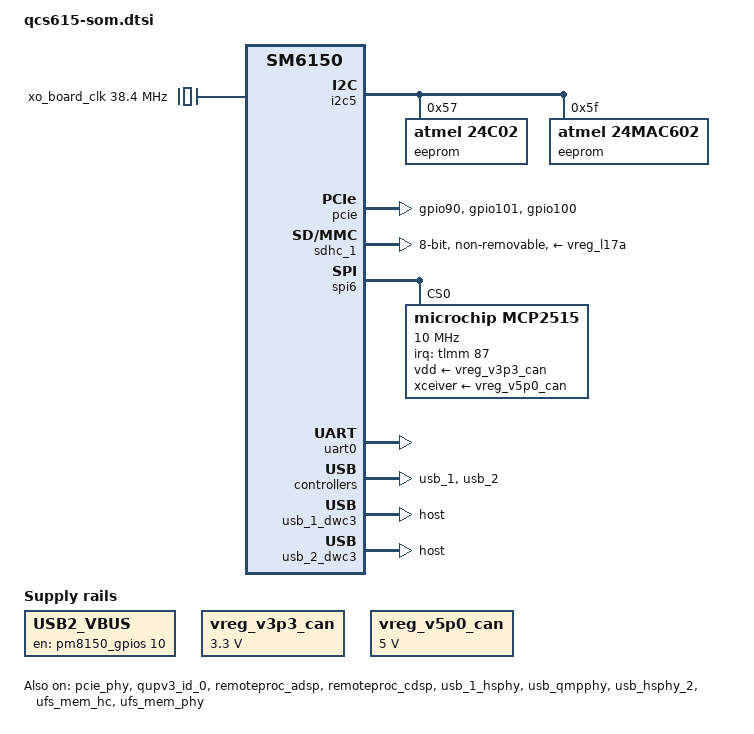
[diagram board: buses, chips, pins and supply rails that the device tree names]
// SPDX-License-Identifier: BSD-3-Clause
/*
 * Copyright (c) 2025, Qualcomm Innovation Center, Inc. All rights reserved.
 */
/dts-v1/;

#include <dt-bindings/gpio/gpio.h>
#include <dt-bindings/regulator/qcom,rpmh-regulator.h>
#include <dt-bindings/gpio/gpio.h>
#include "sm6150.dtsi"
#include "pm8150.dtsi"
/ {
	aliases {
		mmc0 = &sdhc_1;
		serial0 = &uart0;
	};

	chosen {
		stdout-path = "serial0:115200n8";
	};

	clocks {
		sleep_clk: sleep-clk {
			compatible = "fixed-clock";
			clock-frequency = <32764>;
			#clock-cells = <0>;
		};

		xo_board_clk: xo-board-clk {
			compatible = "fixed-clock";
			clock-frequency = <38400000>;
			#clock-cells = <0>;
		};
	};

	regulator-usb2-vbus {
		compatible = "regulator-fixed";
		regulator-name = "USB2_VBUS";
		gpio = <&pm8150_gpios 10 GPIO_ACTIVE_HIGH>;
		pinctrl-0 = <&usb2_en>;
		pinctrl-names = "default";
		enable-active-high;
		regulator-always-on;
	};

	vreg_v3p3_can: regulator-v3p3-can {
		compatible = "regulator-fixed";
		regulator-name = "vreg-v3p3-can";
		regulator-min-microvolt = <3300000>;
		regulator-max-microvolt = <3300000>;
		regulator-boot-on;
		regulator-always-on;
	};

	vreg_v5p0_can: regulator-v5p0-can {
		compatible = "regulator-fixed";
		regulator-name = "vreg-v5p0-can";
		regulator-min-microvolt = <5000000>;
		regulator-max-microvolt = <5000000>;
		regulator-boot-on;
		regulator-always-on;
	};
};

&apps_rsc {
	regulators-0 {
		compatible = "qcom,pm8150-rpmh-regulators";
		qcom,pmic-id = "a";

		vreg_s3a: smps3 {
			regulator-name = "vreg_s3a";
			regulator-min-microvolt = <600000>;
			regulator-max-microvolt = <650000>;
			regulator-initial-mode = <RPMH_REGULATOR_MODE_HPM>;
		};

		vreg_s4a: smps4 {
			regulator-name = "vreg_s4a";
			regulator-min-microvolt = <1800000>;
			regulator-max-microvolt = <1829000>;
			regulator-initial-mode = <RPMH_REGULATOR_MODE_HPM>;
		};

		vreg_s5a: smps5 {
			regulator-name = "vreg_s5a";
			regulator-min-microvolt = <1896000>;
			regulator-max-microvolt = <2040000>;
			regulator-initial-mode = <RPMH_REGULATOR_MODE_HPM>;
		};

		vreg_s6a: smps6 {
			regulator-name = "vreg_s6a";
			regulator-min-microvolt = <1304000>;
			regulator-max-microvolt = <1404000>;
			regulator-initial-mode = <RPMH_REGULATOR_MODE_HPM>;
		};

		vreg_l1a: ldo1 {
			regulator-name = "vreg_l1a";
			regulator-min-microvolt = <488000>;
			regulator-max-microvolt = <852000>;
			regulator-initial-mode = <RPMH_REGULATOR_MODE_LPM>;
			regulator-allow-set-load;
			regulator-allowed-modes = <RPMH_REGULATOR_MODE_LPM
						   RPMH_REGULATOR_MODE_HPM>;
		};

		vreg_l2a: ldo2 {
			regulator-name = "vreg_l2a";
			regulator-min-microvolt = <1650000>;
			regulator-max-microvolt = <3100000>;
			regulator-initial-mode = <RPMH_REGULATOR_MODE_LPM>;
			regulator-allow-set-load;
			regulator-allowed-modes = <RPMH_REGULATOR_MODE_LPM
						   RPMH_REGULATOR_MODE_HPM>;
		};

		vreg_l3a: ldo3 {
			regulator-name = "vreg_l3a";
			regulator-min-microvolt = <1000000>;
			regulator-max-microvolt = <1248000>;
			regulator-initial-mode = <RPMH_REGULATOR_MODE_LPM>;
			regulator-allow-set-load;
			regulator-allowed-modes = <RPMH_REGULATOR_MODE_LPM
						   RPMH_REGULATOR_MODE_HPM>;
		};

		vreg_l5a: ldo5 {
			regulator-name = "vreg_l5a";
			regulator-min-microvolt = <875000>;
			regulator-max-microvolt = <975000>;
			regulator-initial-mode = <RPMH_REGULATOR_MODE_HPM>;
			regulator-allow-set-load;
			regulator-allowed-modes = <RPMH_REGULATOR_MODE_LPM
						   RPMH_REGULATOR_MODE_HPM>;
		};

		vreg_l7a: ldo7 {
			regulator-name = "vreg_l7a";
			regulator-min-microvolt = <1800000>;
			regulator-max-microvolt = <1900000>;
			regulator-initial-mode = <RPMH_REGULATOR_MODE_HPM>;
			regulator-allow-set-load;
			regulator-allowed-modes = <RPMH_REGULATOR_MODE_LPM
						   RPMH_REGULATOR_MODE_HPM>;
		};

		vreg_l8a: ldo8 {
			regulator-name = "vreg_l8a";
			regulator-min-microvolt = <1150000>;
			regulator-max-microvolt = <1350000>;
			regulator-initial-mode = <RPMH_REGULATOR_MODE_HPM>;
			regulator-allow-set-load;
			regulator-allowed-modes = <RPMH_REGULATOR_MODE_LPM
						   RPMH_REGULATOR_MODE_HPM>;
		};

		vreg_l10a: ldo10 {
			regulator-name = "vreg_l10a";
			regulator-min-microvolt = <2950000>;
			regulator-max-microvolt = <3312000>;
			regulator-initial-mode = <RPMH_REGULATOR_MODE_HPM>;
			regulator-allow-set-load;
			regulator-allowed-modes = <RPMH_REGULATOR_MODE_LPM
						   RPMH_REGULATOR_MODE_HPM>;
		};

		vreg_l11a: ldo11 {
			regulator-name = "vreg_l11a";
			regulator-min-microvolt = <1232000>;
			regulator-max-microvolt = <1260000>;
			regulator-initial-mode = <RPMH_REGULATOR_MODE_LPM>;
			regulator-allow-set-load;
			regulator-allowed-modes = <RPMH_REGULATOR_MODE_LPM
						   RPMH_REGULATOR_MODE_HPM>;
		};

		vreg_l12a: ldo12 {
			regulator-name = "vreg_l12a";
			regulator-min-microvolt = <1800000>;
			regulator-max-microvolt = <1890000>;
			regulator-initial-mode = <RPMH_REGULATOR_MODE_LPM>;
			regulator-allow-set-load;
			regulator-allowed-modes = <RPMH_REGULATOR_MODE_LPM
						   RPMH_REGULATOR_MODE_HPM>;
		};

		vreg_l13a: ldo13 {
			regulator-name = "vreg_l13a";
			regulator-min-microvolt = <3000000>;
			regulator-max-microvolt = <3230000>;
			regulator-initial-mode = <RPMH_REGULATOR_MODE_LPM>;
			regulator-allow-set-load;
			regulator-allowed-modes = <RPMH_REGULATOR_MODE_LPM
						   RPMH_REGULATOR_MODE_HPM>;
		};

		vreg_l15a: ldo15 {
			regulator-name = "vreg_l15a";
			regulator-min-microvolt = <1800000>;
			regulator-max-microvolt = <1904000>;
			regulator-initial-mode = <RPMH_REGULATOR_MODE_LPM>;
			regulator-allow-set-load;
			regulator-allowed-modes = <RPMH_REGULATOR_MODE_LPM
						   RPMH_REGULATOR_MODE_HPM>;
		};

		vreg_l16a: ldo16 {
			regulator-name = "vreg_l16a";
			regulator-min-microvolt = <3000000>;
			regulator-max-microvolt = <3312000>;
			regulator-initial-mode = <RPMH_REGULATOR_MODE_LPM>;
			regulator-allow-set-load;
			regulator-allowed-modes = <RPMH_REGULATOR_MODE_LPM
						   RPMH_REGULATOR_MODE_HPM>;
		};

		vreg_l17a: ldo17 {
			regulator-name = "vreg_l17a";
			regulator-min-microvolt = <2950000>;
			regulator-max-microvolt = <3312000>;
			regulator-initial-mode = <RPMH_REGULATOR_MODE_HPM>;
		};
	};
};

&gcc {
	clocks = <&rpmhcc RPMH_CXO_CLK>,
		 <&rpmhcc RPMH_CXO_CLK_A>,
		 <&sleep_clk>;
};

&i2c5 {
	status = "okay";

	eeprom@57 {
		compatible = "atmel,24c02";
		reg = <0x57>;
		pagesize = <16>;
	};

	eeprom@5f {
		compatible = "atmel,24mac602";
		reg = <0x5f>;
		pagesize = <16>;
	};
};

&pcie {
	perst-gpios = <&tlmm 101 GPIO_ACTIVE_LOW>;
	wake-gpios = <&tlmm 100 GPIO_ACTIVE_HIGH>;

	pinctrl-0 = <&pcie_default_state>;
	pinctrl-names = "default";

	status = "okay";
};

&pcie_phy {
	vdda-phy-supply = <&vreg_l5a>;
	vdda-pll-supply = <&vreg_l12a>;

	status = "okay";
};

&pm8150_gpios {
	usb2_en: usb2-en-state {
		pins = "gpio10";
		function = "normal";
		output-enable;
		power-source = <0>;
	};
};

&qupv3_id_0 {
	status = "okay";
};

&remoteproc_adsp {
	firmware-name = "qcom/qcs615/adsp.mbn";
	status = "okay";
};

&remoteproc_cdsp {
	firmware-name = "qcom/qcs615/cdsp.mbn";
	status = "okay";
};

&rpmhcc {
	clocks = <&xo_board_clk>;
};

&tlmm {
	pcie_default_state: pcie-default-state {
		clkreq-pins {
			pins = "gpio90";
			function = "pcie_clk_req";
			drive-strength = <2>;
			bias-pull-up;
		};

		perst-pins {
			pins = "gpio101";
			function = "gpio";
			drive-strength = <2>;
			bias-pull-down;
		};

		wake-pins {
			pins = "gpio100";
			function = "gpio";
			drive-strength = <2>;
			bias-pull-up;
		};
	};
};

&sdhc_1 {
	pinctrl-0 = <&sdc1_state_on>;
	pinctrl-1 = <&sdc1_state_off>;
	pinctrl-names = "default", "sleep";

	bus-width = <8>;
	mmc-ddr-1_8v;
	mmc-hs200-1_8v;
	mmc-hs400-1_8v;
	mmc-hs400-enhanced-strobe;
	vmmc-supply = <&vreg_l17a>;
	vqmmc-supply = <&vreg_s4a>;

	non-removable;
	no-sd;
	no-sdio;

	status = "okay";
};

&spi6 {
	status = "okay";

	mcp2515@0 {
		compatible = "microchip,mcp2515";
		reg = <0>;
		clock-frequency = <20000000>;
		interrupts-extended = <&tlmm 87 IRQ_TYPE_LEVEL_LOW>;
		spi-max-frequency = <10000000>;
		vdd-supply = <&vreg_v3p3_can>;
		xceiver-supply = <&vreg_v5p0_can>;
	};
};

&uart0 {
	status = "okay";
};

&usb_1_hsphy {
	vdd-supply = <&vreg_l5a>;
	vdda-pll-supply = <&vreg_l12a>;
	vdda-phy-dpdm-supply = <&vreg_l13a>;

	status = "okay";
};

&usb_qmpphy {
	vdda-phy-supply = <&vreg_l5a>;
	vdda-pll-supply = <&vreg_l12a>;

	status = "okay";
};

&usb_1 {
	status = "okay";
};

&usb_1_dwc3 {
	dr_mode = "host";
};

&usb_hsphy_2 {
	vdd-supply = <&vreg_l5a>;
	vdda-pll-supply = <&vreg_l12a>;
	vdda-phy-dpdm-supply = <&vreg_l13a>;

	status = "okay";
};

&usb_2 {
	status = "okay";
};

&usb_2_dwc3 {
	dr_mode = "host";
};

&ufs_mem_hc {
	reset-gpios = <&tlmm 123 GPIO_ACTIVE_LOW>;
	vcc-supply = <&vreg_l17a>;
	vcc-max-microamp = <600000>;
	vccq2-supply = <&vreg_s4a>;
	vccq2-max-microamp = <600000>;

	status = "okay";
};

&ufs_mem_phy {
	vdda-phy-supply = <&vreg_l5a>;
	vdda-pll-supply = <&vreg_l12a>;

	status = "okay";
};

&watchdog {
	clocks = <&sleep_clk>;
};
